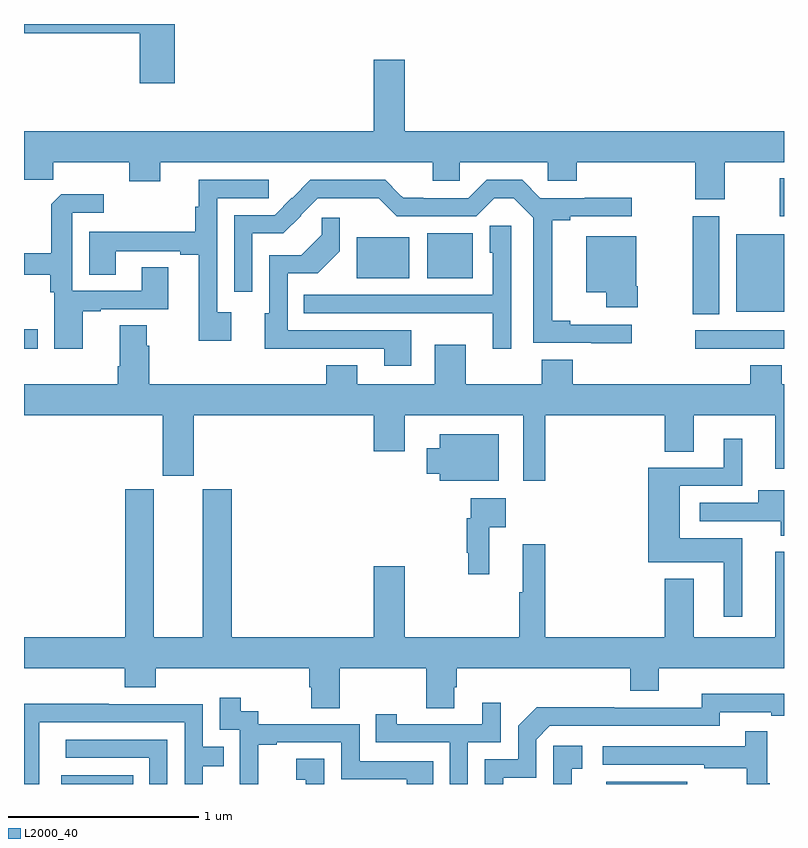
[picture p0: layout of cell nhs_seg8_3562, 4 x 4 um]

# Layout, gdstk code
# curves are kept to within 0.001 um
import gdstk
lib = gdstk.Library(unit=1e-6, precision=1e-09)
def R(c, l, rs):  # rectangles x0, y0, x1, y1
    for r in rs: c.add(gdstk.rectangle(r[:2], r[2:], *l))
def P(c, l, *ps):  # polygons
    for p in ps: c.add(gdstk.Polygon(p, *l))
L2000_40 = (2000, 40)

nhs_seg8_3562 = lib.new_cell('nhs_seg8_3562')
R(nhs_seg8_3562, L2000_40, [(331.196,1107.9,331.574,1107.946), (334.064,1107.9,334.492,1107.913), (331,1110.191,331.072,1110.293), (334.533,1110.192,335,1110.288), (334.519,1110.373,334.66,1110.889), (334.748,1110.386,335,1110.793), (332.75,1110.563,333.028,1110.778), (333.122,1110.563,333.361,1110.799), (334.978,1110.888,335,1111.087)])
P(nhs_seg8_3562, L2000_40, [(331.793,1111.9),(331,1111.9),(331,1111.852),(331.61,1111.852),(331.61,1111.587),(331.793,1111.587)],
  [(334.689,1111.172),(335,1111.172),(335,1111.336),(333.004,1111.336),(333.004,1111.711),(332.84,1111.711),(332.84,1111.336),(331,1111.336),(331,1111.079),(331.153,1111.079),(331.153,1111.172),(331.553,1111.172),(331.553,1111.073),(331.717,1111.073),(331.717,1111.172),(333.152,1111.172),(333.152,1111.074),(333.294,1111.074),(333.294,1111.172),(333.756,1111.172),(333.756,1111.074),(333.908,1111.074),(333.908,1111.172),(334.534,1111.172),(334.534,1110.978),(334.689,1110.978)],
  [(334.198,1110.318),(333.874,1110.318),(333.874,1110.338),(333.779,1110.338),(333.779,1110.868),(333.874,1110.868),(333.874,1110.888),(334.198,1110.888),(334.198,1110.986),(333.951,1110.986),(333.951,1110.984),(333.718,1110.984),(333.622,1111.08),(333.435,1111.08),(333.339,1110.984),(333.1,1110.984),(333.1,1110.986),(332.996,1110.986),(332.901,1111.08),(332.507,1111.08),(332.319,1110.894),(332.106,1110.894),(332.106,1110.492),(332.202,1110.492),(332.202,1110.798),(332.365,1110.798),(332.459,1110.892),(332.457,1110.894),(332.547,1110.984),(332.867,1110.983),(332.961,1110.888),(333.381,1110.888),(333.476,1110.983),(333.577,1110.983),(333.681,1110.879),(333.681,1110.222),(334.198,1110.221)],
  [(332.092,1110.382),(332.016,1110.382),(332.016,1110.984),(332.289,1110.984),(332.289,1111.08),(331.919,1111.08),(331.919,1110.938),(331.9,1110.938),(331.9,1110.806),(331.343,1110.806),(331.343,1110.58),(331.483,1110.58),(331.483,1110.705),(331.823,1110.705),(331.823,1110.685),(331.919,1110.685),(331.919,1110.234),(332.092,1110.234)],
  [(331.309,1110.387),(331.405,1110.387),(331.405,1110.399),(331.759,1110.399),(331.759,1110.62),(331.619,1110.62),(331.619,1110.495),(331.254,1110.495),(331.254,1110.906),(331.42,1110.906),(331.42,1111.003),(331.195,1111.003),(331.143,1110.951),(331.143,1110.694),(331,1110.694),(331,1110.58),(331.138,1110.58),(331.138,1110.488),(331.158,1110.488),(331.158,1110.192),(331.309,1110.192)],
  [(333.037,1110.288),(332.388,1110.288),(332.388,1110.588),(332.545,1110.588),(332.661,1110.704),(332.661,1110.88),(332.566,1110.88),(332.566,1110.792),(332.458,1110.684),(332.292,1110.684),(332.292,1110.378),(332.267,1110.378),(332.267,1110.191),(332.897,1110.192),(332.897,1110.102),(333.037,1110.102)],
  [(333.564,1110.839),(333.452,1110.839),(333.452,1110.696),(333.468,1110.696),(333.468,1110.474),(332.473,1110.474),(332.473,1110.378),(333.133,1110.378),(333.133,1110.377),(333.467,1110.377),(333.467,1110.192),(333.564,1110.192)],
  [(334.23,1110.52),(334.222,1110.52),(334.222,1110.784),(333.959,1110.784),(333.959,1110.488),(334.064,1110.488),(334.064,1110.408),(334.23,1110.408)],
  [(333.743,1109.84),(334.373,1109.84),(334.373,1109.65),(334.525,1109.65),(334.525,1109.84),(334.955,1109.84),(334.955,1109.559),(335,1109.559),(335,1110.004),(334.988,1110.004),(334.988,1110.103),(334.823,1110.103),(334.823,1110.004),(333.889,1110.004),(333.889,1110.133),(333.725,1110.133),(333.725,1110.004),(333.325,1110.004),(333.325,1110.211),(333.161,1110.211),(333.161,1110.004),(332.755,1110.004),(332.755,1110.103),(332.591,1110.103),(332.591,1110.004),(331.658,1110.004),(331.658,1110.206),(331.645,1110.206),(331.645,1110.314),(331.505,1110.314),(331.505,1110.1),(331.493,1110.1),(331.493,1110.004),(331,1110.004),(331,1109.84),(331.73,1109.84),(331.73,1109.523),(331.894,1109.523),(331.894,1109.84),(332.84,1109.84),(332.84,1109.652),(333.004,1109.652),(333.004,1109.84),(333.627,1109.84),(333.627,1109.496),(333.743,1109.496)],
  [(333.499,1109.74),(333.188,1109.74),(333.188,1109.668),(333.119,1109.668),(333.119,1109.534),(333.188,1109.534),(333.188,1109.495),(333.499,1109.495)],
  [(334.78,1109.194),(334.45,1109.194),(334.45,1109.469),(334.78,1109.469),(334.78,1109.716),(334.682,1109.716),(334.682,1109.565),(334.286,1109.565),(334.286,1109.066),(334.682,1109.066),(334.682,1108.779),(334.78,1108.779)],
  [(332.661,1108.508),(333.118,1108.508),(333.118,1108.3),(333.265,1108.3),(333.265,1108.41),(333.278,1108.41),(333.278,1108.508),(334.19,1108.508),(334.19,1108.391),(334.342,1108.391),(334.342,1108.508),(335,1108.508),(335,1109.122),(334.955,1109.122),(334.955,1108.672),(334.525,1108.672),(334.525,1108.981),(334.373,1108.981),(334.373,1108.672),(333.743,1108.672),(333.743,1109.161),(333.626,1109.161),(333.626,1108.908),(333.607,1108.908),(333.607,1108.672),(333.004,1108.672),(333.004,1109.047),(332.84,1109.047),(332.84,1108.672),(332.093,1108.672),(332.093,1109.451),(331.94,1109.451),(331.94,1108.672),(331.684,1108.672),(331.684,1109.451),(331.532,1109.451),(331.532,1108.672),(331,1108.672),(331,1108.508),(331.529,1108.508),(331.529,1108.409),(331.694,1108.409),(331.694,1108.508),(332.501,1108.508),(332.501,1108.41),(332.513,1108.41),(332.513,1108.3),(332.661,1108.3)],
  [(335,1109.446),(334.865,1109.446),(334.865,1109.379),(334.557,1109.379),(334.557,1109.283),(334.982,1109.283),(334.982,1109.207),(335,1109.207)],
  [(333.449,1109.252),(333.535,1109.252),(333.535,1109.404),(333.351,1109.404),(333.351,1109.3),(333.331,1109.3),(333.331,1109.116),(333.339,1109.116),(333.339,1109.004),(333.449,1109.004)],
  [(333.523,1107.933),(333.696,1107.933),(333.696,1108.134),(333.768,1108.206),(334.662,1108.206),(334.662,1108.278),(334.934,1108.278),(334.934,1108.258),(335,1108.258),(335,1108.374),(334.566,1108.375),(334.566,1108.302),(334.106,1108.302),(334.106,1108.304),(333.698,1108.304),(333.6,1108.206),(333.6,1108.029),(333.426,1108.029),(333.426,1107.9),(333.523,1107.9)],
  [(332.234,1108.107),(332.329,1108.107),(332.329,1108.119),(332.67,1108.119),(332.67,1107.924),(333.015,1107.924),(333.015,1107.9),(333.155,1107.9),(333.155,1108.02),(332.766,1108.02),(332.766,1108.215),(332.232,1108.215),(332.232,1108.284),(332.14,1108.284),(332.14,1108.354),(332.031,1108.354),(332.031,1108.185),(332.136,1108.185),(332.136,1107.956),(332.135,1107.956),(332.135,1107.9),(332.234,1107.9)],
  [(333.336,1108.119),(333.51,1108.119),(333.51,1108.327),(333.413,1108.327),(333.413,1108.215),(332.962,1108.215),(332.962,1108.267),(332.851,1108.267),(332.851,1108.119),(333.24,1108.119),(333.24,1107.9),(333.336,1107.9)],
  [(331.08,1108.224),(331.845,1108.224),(331.845,1107.9),(331.941,1107.9),(331.941,1107.994),(332.051,1107.994),(332.051,1108.095),(331.941,1108.095),(331.941,1108.32),(331.445,1108.32),(331.445,1108.322),(331,1108.322),(331,1107.9),(331.08,1107.9)],
  [(334.924,1107.905),(334.913,1107.905),(334.913,1108.177),(334.795,1108.177),(334.795,1108.098),(334.047,1108.098),(334.047,1108.002),(334.579,1108.002),(334.579,1107.982),(334.803,1107.982),(334.803,1107.9),(334.924,1107.9)],
  [(331.755,1108.134),(331.221,1108.134),(331.221,1108.038),(331.659,1108.038),(331.659,1107.9),(331.755,1107.9)],
  [(333.884,1107.981),(333.937,1107.981),(333.937,1108.102),(333.786,1108.102),(333.786,1107.9),(333.884,1107.9)],
  [(332.58,1108.033),(332.433,1108.033),(332.433,1107.923),(332.482,1107.923),(332.482,1107.9),(332.58,1107.9)])

lib.write_gds('nhs_seg8_3562.gds')
